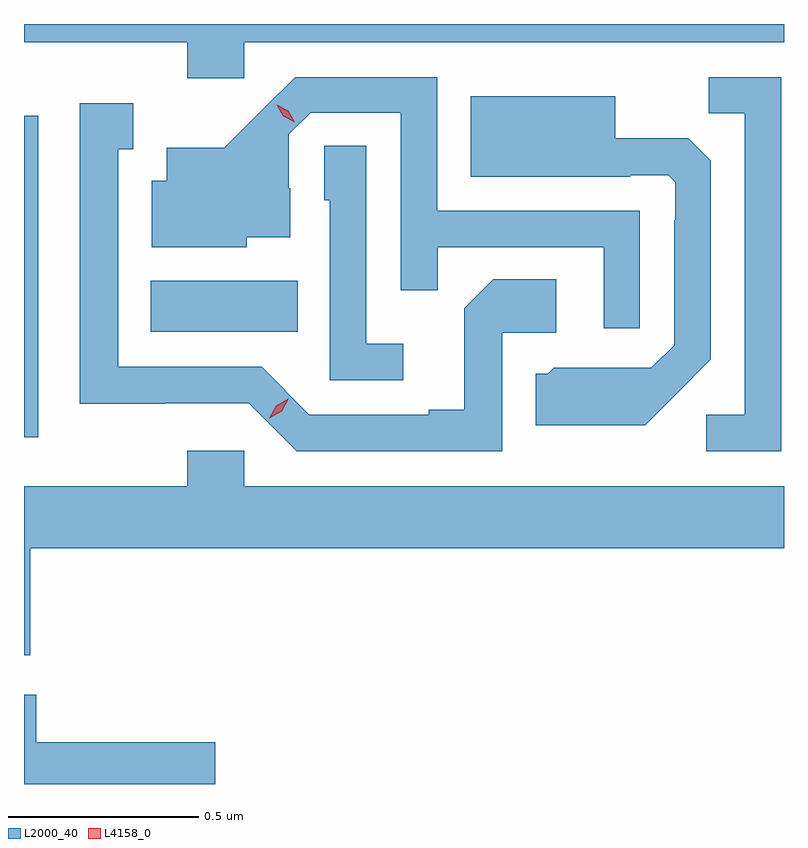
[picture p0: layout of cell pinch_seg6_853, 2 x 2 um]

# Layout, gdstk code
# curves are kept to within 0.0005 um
import gdstk
lib = gdstk.Library(unit=1e-6, precision=1e-09)
def R(c, l, rs):  # rectangles x0, y0, x1, y1
    for r in rs: c.add(gdstk.rectangle(r[:2], r[2:], *l))
def P(c, l, *ps):  # polygons
    for p in ps: c.add(gdstk.Polygon(p, *l))
L2000_40 = (2000, 40)
L4158_0 = (4158, 0)

pinch_seg6_853 = lib.new_cell('pinch_seg6_853')
R(pinch_seg6_853, L2000_40, [(131.264,974.268,131.301,975.115), (131.597,974.546,131.984,974.68)])
P(pinch_seg6_853, L2000_40, [(131.844,975.308),(133.264,975.308),(133.264,975.356),(131.264,975.356),(131.264,975.308),(131.693,975.308),(131.693,975.213),(131.844,975.213)],
  [(132.885,974.865),(132.351,974.865),(132.351,975.216),(131.978,975.216),(131.791,975.031),(131.639,975.031),(131.639,974.944),(131.6,974.944),(131.6,974.768),(131.85,974.768),(131.85,974.795),(131.965,974.795),(131.965,974.924),(131.961,974.924),(131.961,975.066),(132.018,975.123),(132.255,975.123),(132.255,974.656),(132.353,974.656),(132.353,974.769),(132.789,974.769),(132.789,974.556),(132.885,974.556)],
  [(133.257,975.216),(133.066,975.216),(133.066,975.121),(133.161,975.121),(133.161,974.328),(133.059,974.328),(133.059,974.232),(133.257,974.232)],
  [(132.979,974.381),(133.071,974.474),(133.071,974.996),(133.012,975.055),(132.82,975.055),(132.82,975.166),(132.44,975.166),(132.44,974.954),(132.86,974.954),(132.86,974.958),(132.96,974.958),(132.978,974.94),(132.978,974.84),(132.975,974.84),(132.975,974.511),(132.915,974.451),(132.792,974.451),(132.792,974.452),(132.658,974.452),(132.642,974.436),(132.611,974.436),(132.611,974.3),(132.899,974.3)],
  [(132.522,974.544),(132.664,974.544),(132.664,974.684),(132.499,974.684),(132.423,974.608),(132.423,974.341),(132.329,974.341),(132.329,974.328),(132.015,974.328),(131.889,974.454),(131.512,974.454),(131.512,975.027),(131.551,975.027),(131.551,975.148),(131.411,975.148),(131.411,974.357),(131.634,974.357),(131.634,974.358),(131.856,974.358),(131.982,974.232),(132.522,974.232)],
  [(132.262,974.515),(132.165,974.515),(132.165,975.035),(132.054,975.035),(132.054,974.892),(132.069,974.892),(132.069,974.418),(132.262,974.418)],
  [(131.281,973.976),(133.264,973.976),(133.264,974.14),(131.844,974.14),(131.844,974.233),(131.693,974.233),(131.693,974.14),(131.264,974.14),(131.264,973.695),(131.281,973.695)],
  [(131.767,973.466),(131.296,973.466),(131.296,973.591),(131.264,973.591),(131.264,973.356),(131.767,973.356)])
P(pinch_seg6_853, L4158_0, [(131.976,975.098),(131.946,975.113),(131.929,975.143),(131.929,975.143),(131.929,975.143),(131.959,975.128),(131.976,975.098),(131.976,975.098)],
  [(131.91,974.318),(131.91,974.318),(131.928,974.351),(131.96,974.37),(131.96,974.37),(131.96,974.369),(131.942,974.337),(131.91,974.318)])

lib.write_gds('pinch_seg6_853.gds')
